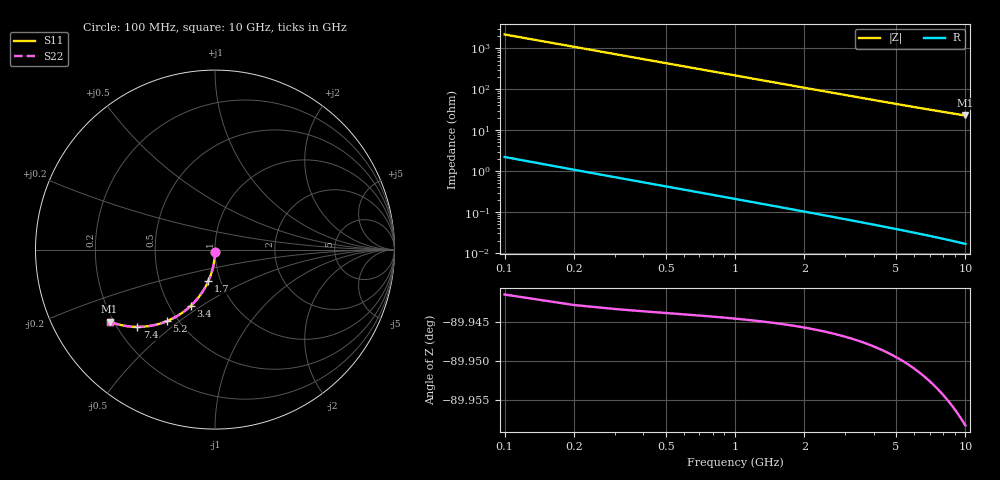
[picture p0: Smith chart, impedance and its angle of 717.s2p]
# Hz S RI R 50.00
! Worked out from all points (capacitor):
!   100 points, 100 MHz to 10 GHz, reference 50 ohm
!   read as one part in shunt: C = 734 fF near 100 MHz
!   lowest |Z| = 22.8 ohm at 10 GHz (marker M1)
!   S11 on the Smith chart (normalised r, x): 100 MHz: 1.00, -0.02; 1.7 GHz: 0.88, -0.32; 3.4 GHz: 0.64, -0.45; 5.2 GHz: 0.43, -0.45; 7.4 GHz: 0.28, -0.39; 10 GHz: 0.18, -0.30
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1e8  4.88e-05 -0.0107  0.9997 -0.0124  0.9997 -0.0124  4.88e-05 -0.0107
2e8  -0.000358 -0.0214  0.9992 -0.0248  0.9992 -0.0248  -0.000358 -0.0214
3e8  -0.00103 -0.032  0.9986 -0.0371  0.9986 -0.0371  -0.00103 -0.032
4e8  -0.00196 -0.0426  0.9976 -0.0494  0.9976 -0.0494  -0.00196 -0.0426
5e8  -0.00316 -0.0532  0.9964 -0.0617  0.9964 -0.0617  -0.00316 -0.0532
6e8  -0.00461 -0.0638  0.9949 -0.074  0.9949 -0.074  -0.00461 -0.0638
8e8  -0.0083 -0.0847  0.9912 -0.0984  0.9912 -0.0984  -0.0083 -0.0847
1.1e9  -0.0157 -0.1156  0.9837 -0.1344  0.9837 -0.1344  -0.0157 -0.1156
1.4e9  -0.0253 -0.1457  0.974 -0.1696  0.974 -0.1696  -0.0253 -0.1457
1.7e9  -0.037 -0.1747  0.9622 -0.2037  0.9622 -0.2037  -0.037 -0.1747
1.8e9  -0.0413 -0.1842  0.9578 -0.2149  0.9578 -0.2149  -0.0413 -0.1842
2.1e9  -0.0555 -0.2116  0.9434 -0.2474  0.9434 -0.2474  -0.0555 -0.2116
2.5e9  -0.0771 -0.2459  0.9216 -0.2886  0.9216 -0.2886  -0.0771 -0.2459
2.9e9  -0.1013 -0.2774  0.8971 -0.3271  0.8971 -0.3271  -0.1013 -0.2774
3.4e9  -0.1345 -0.3127  0.8634 -0.371  0.8634 -0.371  -0.1345 -0.3127
4.2e9  -0.1926 -0.3589  0.8043 -0.4312  0.8043 -0.4312  -0.1926 -0.3589
5.1e9  -0.2616 -0.3961  0.734 -0.4843  0.734 -0.4843  -0.2616 -0.3961
5.2e9  -0.2694 -0.3993  0.7261 -0.4892  0.7261 -0.4892  -0.2694 -0.3993
6.7e9  -0.3828 -0.428  0.6099 -0.5449  0.6099 -0.5449  -0.3828 -0.428
7.4e9  -0.4323 -0.4306  0.5588 -0.5603  0.5588 -0.5603  -0.4323 -0.4306
8.4e9  -0.4975 -0.4253  0.4909 -0.5736  0.4909 -0.5736  -0.4975 -0.4253
1e10  -0.5873 -0.4008  0.3961 -0.5796  0.3961 -0.5796  -0.5873 -0.4008
